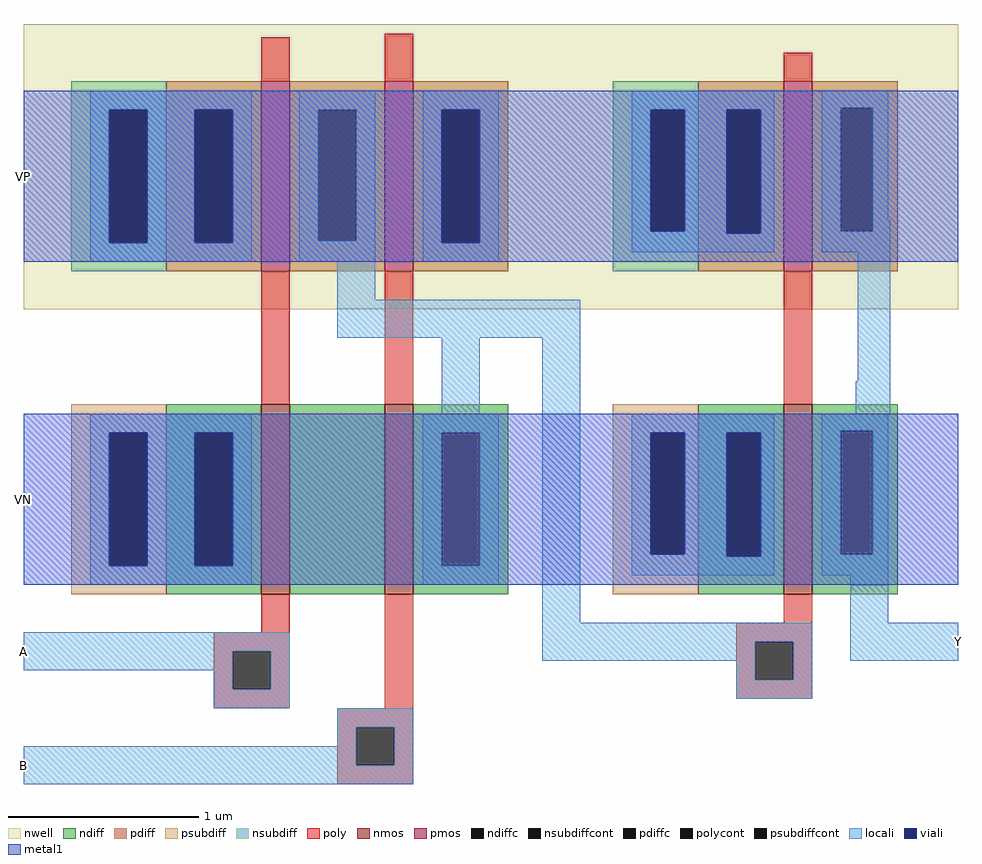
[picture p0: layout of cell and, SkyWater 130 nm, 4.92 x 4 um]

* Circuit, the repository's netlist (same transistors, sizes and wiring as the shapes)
* NGSPICE file created from and.ext - technology: sky130A

.subckt inverter A Y VP VN
X0 Y A VN VN sky130_fd_pr__nfet_01v8 ad=0.45 pd=2.9 as=0.45 ps=2.9 w=1 l=0.15
X1 Y A VP VP sky130_fd_pr__pfet_01v8 ad=0.45 pd=2.9 as=0.45 ps=2.9 w=1 l=0.15
.ends

.subckt nand VP VN A B Y
X0 VP B Y VP sky130_fd_pr__pfet_01v8 ad=0.5 pd=3 as=0.25 ps=1.5 w=1 l=0.15
X1 a_130_0# A VN VN sky130_fd_pr__nfet_01v8 ad=0.25 pd=1.5 as=0.5 ps=3 w=1 l=0.15
X2 Y A VP VP sky130_fd_pr__pfet_01v8 ad=0.25 pd=1.5 as=0.5 ps=3 w=1 l=0.15
X3 Y B a_130_0# VN sky130_fd_pr__nfet_01v8 ad=0.5 pd=3 as=0.25 ps=1.5 w=1 l=0.15
.ends


* Top level circuit and

Xinverter_0 nand_0/Y Y VP VN inverter
Xnand_0 VP VN A B nand_0/Y nand
.end

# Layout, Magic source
magic
tech sky130A
<< nwell >>
rect 255 250 305 400
<< locali >>
rect 0 60 15 80
rect 273 65 293 255
rect 480 65 492 85
rect 0 0 15 20
<< metal1 >>
rect 0 275 15 365
rect 267 275 296 365
rect 0 105 15 195
rect 270 105 299 195
use inverter  inverter_0
transform 1 0 400 0 1 100
box -115 -55 92 300
use nand  nand_0
transform 1 0 75 0 1 100
box -75 -100 200 300
<< labels >>
rlabel locali 0 10 0 10 7 B
rlabel locali 0 70 0 70 7 A
rlabel metal1 0 150 0 150 7 VN
rlabel metal1 0 320 0 320 7 VP
rlabel locali 492 75 492 75 3 Y
<< end >>

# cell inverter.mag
magic
tech sky130A
<< nwell >>
rect -115 150 92 300
<< nmos >>
rect 0 0 15 100
<< pmos >>
rect 0 170 15 270
<< ndiff >>
rect -45 85 0 100
rect -45 20 -30 85
rect -12 20 0 85
rect -45 0 0 20
rect 15 86 60 100
rect 15 21 30 86
rect 47 21 60 86
rect 15 0 60 21
<< pdiff >>
rect -45 255 0 270
rect -45 190 -30 255
rect -12 190 0 255
rect -45 170 0 190
rect 15 256 60 270
rect 15 191 30 256
rect 47 191 60 256
rect 15 170 60 191
<< ndiffc >>
rect -30 20 -12 85
rect 30 21 47 86
<< pdiffc >>
rect -30 190 -12 255
rect 30 191 47 256
<< psubdiff >>
rect -90 85 -45 100
rect -90 21 -70 85
rect -52 21 -45 85
rect -90 0 -45 21
<< nsubdiff >>
rect -90 255 -45 270
rect -90 191 -70 255
rect -52 191 -45 255
rect -90 170 -45 191
<< psubdiffcont >>
rect -70 21 -52 85
<< nsubdiffcont >>
rect -70 191 -52 255
<< poly >>
rect 0 270 15 285
rect 0 100 15 170
rect 0 -15 15 0
rect -25 -25 15 -15
rect -25 -45 -15 -25
rect 5 -45 15 -25
rect -25 -55 15 -45
<< polycont >>
rect -15 -45 5 -25
<< locali >>
rect -80 255 -5 265
rect -80 191 -70 255
rect -52 191 -30 255
rect -80 190 -30 191
rect -12 190 -5 255
rect -80 180 -5 190
rect 20 256 55 265
rect 20 191 30 256
rect 47 197 55 256
rect 47 191 56 197
rect 20 180 56 191
rect 39 112 56 180
rect 38 95 56 112
rect -80 85 -5 95
rect -80 21 -70 85
rect -52 21 -30 85
rect -80 20 -30 21
rect -12 20 -5 85
rect -80 10 -5 20
rect 20 86 55 95
rect 20 21 30 86
rect 47 21 55 86
rect 20 10 55 21
rect 35 -15 55 10
rect -115 -25 15 -15
rect -115 -35 -15 -25
rect -25 -45 -15 -35
rect 5 -45 15 -25
rect 35 -35 92 -15
rect -25 -55 15 -45
<< viali >>
rect -70 191 -52 255
rect -30 190 -12 255
rect -70 21 -52 85
rect -30 20 -12 85
<< metal1 >>
rect -115 255 92 265
rect -115 191 -70 255
rect -52 191 -30 255
rect -115 190 -30 191
rect -12 190 92 255
rect -115 175 92 190
rect -115 85 92 95
rect -115 21 -70 85
rect -52 21 -30 85
rect -115 20 -30 21
rect -12 20 92 85
rect -115 5 92 20
<< labels >>
rlabel locali -115 -25 -115 -25 7 A
port 1 w
rlabel metal1 -115 225 -115 225 7 VP
port 3 w
rlabel metal1 -115 45 -115 45 7 VN
port 4 w
rlabel locali 92 -25 92 -25 3 Y
port 2 e
<< end >>

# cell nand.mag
magic
tech sky130A
<< nwell >>
rect -75 150 200 300
<< nmos >>
rect 50 0 65 100
rect 115 0 130 100
<< pmos >>
rect 50 170 65 270
rect 115 170 130 270
<< ndiff >>
rect 0 85 50 100
rect 0 15 15 85
rect 35 15 50 85
rect 0 0 50 15
rect 65 0 115 100
rect 130 85 180 100
rect 130 15 145 85
rect 165 15 180 85
rect 130 0 180 15
<< pdiff >>
rect 0 255 50 270
rect 0 185 15 255
rect 35 185 50 255
rect 0 170 50 185
rect 65 255 115 270
rect 65 186 80 255
rect 100 186 115 255
rect 65 170 115 186
rect 130 255 180 270
rect 130 185 145 255
rect 165 185 180 255
rect 130 170 180 185
<< ndiffc >>
rect 15 15 35 85
rect 145 15 165 85
<< pdiffc >>
rect 15 185 35 255
rect 80 186 100 255
rect 145 185 165 255
<< psubdiff >>
rect -50 85 0 100
rect -50 15 -30 85
rect -10 15 0 85
rect -50 0 0 15
<< nsubdiff >>
rect -50 255 0 270
rect -50 185 -30 255
rect -10 185 0 255
rect -50 170 0 185
<< psubdiffcont >>
rect -30 15 -10 85
<< nsubdiffcont >>
rect -30 185 -10 255
<< poly >>
rect 50 270 65 293
rect 115 270 130 295
rect 50 100 65 170
rect 115 100 130 170
rect 50 -20 65 0
rect 25 -30 65 -20
rect 25 -50 35 -30
rect 55 -50 65 -30
rect 25 -60 65 -50
rect 115 -60 130 0
rect 90 -70 130 -60
rect 90 -90 100 -70
rect 120 -90 130 -70
rect 90 -100 130 -90
<< polycont >>
rect 35 -50 55 -30
rect 100 -90 120 -70
<< locali >>
rect -40 255 45 265
rect -40 185 -30 255
rect -10 185 15 255
rect 35 185 45 255
rect -40 175 45 185
rect 70 255 110 265
rect 70 186 80 255
rect 100 186 110 255
rect 70 175 110 186
rect 135 255 175 265
rect 135 185 145 255
rect 165 185 175 255
rect 135 175 175 185
rect 90 155 110 175
rect 90 135 200 155
rect 145 95 165 135
rect -40 85 45 95
rect -40 15 -30 85
rect -10 15 15 85
rect 35 15 45 85
rect -40 5 45 15
rect 135 85 175 95
rect 135 15 145 85
rect 165 15 175 85
rect 135 5 175 15
rect -75 -30 65 -20
rect -75 -40 35 -30
rect 25 -50 35 -40
rect 55 -50 65 -30
rect 25 -60 65 -50
rect 90 -70 130 -60
rect 90 -80 100 -70
rect -75 -90 100 -80
rect 120 -90 130 -70
rect -75 -100 130 -90
<< viali >>
rect -30 185 -10 255
rect 15 185 35 255
rect 145 185 165 255
rect -30 15 -10 85
rect 15 15 35 85
<< metal1 >>
rect -75 255 200 265
rect -75 185 -30 255
rect -10 185 15 255
rect 35 185 145 255
rect 165 185 200 255
rect -75 175 200 185
rect -75 85 200 95
rect -75 15 -30 85
rect -10 15 15 85
rect 35 15 200 85
rect -75 5 200 15
<< labels >>
rlabel metal1 -75 220 -75 220 7 VP
port 1 w
rlabel metal1 -75 50 -75 50 7 VN
port 2 w
rlabel locali -75 -30 -75 -30 7 A
port 3 w
rlabel locali -75 -90 -75 -90 7 B
port 4 w
rlabel locali 200 145 200 145 3 Y
port 5 e
<< end >>
